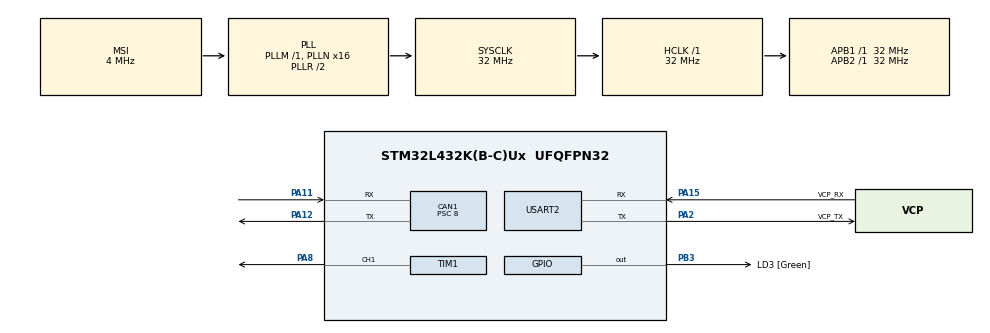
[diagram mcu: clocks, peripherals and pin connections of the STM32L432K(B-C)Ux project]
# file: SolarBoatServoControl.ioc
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CAN1.BS1=CAN_BS1_8TQ
CAN1.BS2=CAN_BS2_7TQ
CAN1.CalculateBaudRate=250000
CAN1.CalculateTimeBit=4000
CAN1.CalculateTimeQuantum=250.0
CAN1.Prescaler=8
Mcu.Family=STM32L4
Mcu.Name=STM32L432K(B-C)Ux
Mcu.Package=UFQFPN32
NVIC.CAN1_RX0_IRQn=true\:0\:0\:false\:false\:true\:true\:true\:true
NVIC.PriorityGroup=NVIC_PRIORITYGROUP_4
PA0.GPIO_Label=MCO [High speed clock in]
PA0.Mode=HSE-External-Clock-Source-for-LittleOrca
PA0.Signal=RCC_CK_IN
PA11.Mode=CAN_Activate
PA11.Signal=CAN1_RX
PA12.Mode=CAN_Activate
PA12.Signal=CAN1_TX
PA13\ (JTMS-SWDIO).GPIO_Label=SWDIO
PA13\ (JTMS-SWDIO).Mode=Serial_Wire
PA13\ (JTMS-SWDIO).Signal=SYS_JTMS-SWDIO
PA14\ (JTCK-SWCLK).GPIO_Label=SWCLK
PA14\ (JTCK-SWCLK).Mode=Serial_Wire
PA14\ (JTCK-SWCLK).Signal=SYS_JTCK-SWCLK
PA15\ (JTDI).GPIO_Label=VCP_RX
PA15\ (JTDI).Mode=Asynchronous
PA15\ (JTDI).Signal=USART2_RX
PA2.GPIO_Label=VCP_TX
PA2.Mode=Asynchronous
PA2.Signal=USART2_TX
PA8.Signal=S_TIM1_CH1
PB3\ (JTDO-TRACESWO).GPIO_Label=LD3 [Green]
PB3\ (JTDO-TRACESWO).Signal=GPIO_Output
PC14-OSC32_IN\ (PC14).Mode=LSE-External-Oscillator
PC14-OSC32_IN\ (PC14).Signal=RCC_OSC32_IN
PC15-OSC32_OUT\ (PC15).Mode=LSE-External-Oscillator
PC15-OSC32_OUT\ (PC15).Signal=RCC_OSC32_OUT
ProjectManager.HeapSize=0x200
ProjectManager.StackSize=0x400
ProjectManager.TargetToolchain=STM32CubeIDE
RCC.AHBFreq_Value=32000000
RCC.APB1Freq_Value=32000000
RCC.APB1TimFreq_Value=32000000
RCC.APB2Freq_Value=32000000
RCC.APB2TimFreq_Value=32000000
RCC.CortexFreq_Value=32000000
RCC.HCLKFreq_Value=32000000
RCC.HSE_VALUE=8000000
RCC.HSI16_VALUE=16000000
RCC.HSI48_VALUE=48000000
RCC.HSI_VALUE=16000000
RCC.MSI_VALUE=4000000
RCC.PLLMUL=RCC_PLLMUL_4
RCC.PLLN=16
RCC.SYSCLKFreq_VALUE=32000000
RCC.SYSCLKSource=RCC_SYSCLKSOURCE_PLLCLK
RCC.VCOOutputFreq_Value=64000000
SH.S_TIM1_CH1.0=TIM1_CH1,PWM Generation1 CH1
TIM1.Channel-PWM\ Generation1\ CH1=TIM_CHANNEL_1
TIM1.Period=40000-1
TIM1.Prescaler=16-1
USART2.VirtualMode-Asynchronous=VM_ASYNC
VP_RNG_VS_RNG.Mode=RNG_Activate
VP_TIM1_VS_ClockSourceINT.Mode=Internal
board=NUCLEO-L432KC

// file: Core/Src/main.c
/* USER CODE BEGIN Header */
/**
 *******************************************************************************
 * @file           : main.c
 * @brief          : Main program body
 *******************************************************************************
 * @attention
 *
 * Copyright (c) 2023 STMicroelectronics.
 * All rights reserved.
 *
 * This software is licensed under terms that can be found in the LICENSE file
 * in the root directory of this software component.
 * If no LICENSE file comes with this software, it is provided AS-IS.
 *
 *******************************************************************************
 */
/* USER CODE END Header */
#include "main.h"
#include "can.h"
#include "rng.h"
#include "tim.h"
#include "usart.h"
#include "gpio.h"

/* USER CODE BEGIN Includes */
#include <string.h>
#include <stdio.h>
/* USER CODE END Includes */

/* USER CODE BEGIN PV */
CAN_TxHeaderTypeDef TxHeader;
uint32_t TxMailbox;
uint8_t TxData[8];
/* USER CODE END PV */

void SystemClock_Config(void);
/* USER CODE BEGIN PFP */
uint32_t get_random_number(void);
uint8_t get_random_4bit(void);
/* USER CODE END PFP */

int main(void)
{

  /* MCU Configuration--------------------------------------------------------*/

  /* Reset of all peripherals, Initializes the Flash interface and the Systick. */
  HAL_Init();

  /* Configure the system clock */
  SystemClock_Config();

  /* Initialize all configured peripherals */
  MX_GPIO_Init();
  MX_USART2_UART_Init();
  MX_CAN1_Init();
  MX_TIM1_Init();
  MX_RNG_Init();
  /* USER CODE BEGIN 2 */

    // CAN-transmissie configureren
    TxHeader.DLC = 8;                     				// Data Length: 1 byte
    TxHeader.IDE = CAN_ID_STD;            				// Standaard CAN-ID
    TxHeader.RTR = CAN_RTR_DATA;          				// Data frame
    TxHeader.StdId = get_random_4bit()<<7 | 0x1;        // Een andere CAN-ID
    TxHeader.TransmitGlobalTime = DISABLE;
    uint32_t i = 0;
  /* USER CODE END 2 */

  /* Infinite loop */
  /* USER CODE BEGIN WHILE */
    while (1)
    {
        // Genereer een willekeurig ASCII karakter
    	sprintf(TxData, "%7d", i);

//    	if((i % 2) == 0)
//    	{
//    		TxHeader.StdId = get_random_4bit()<<7 | ((uint8_t)get_random_number()&0b01111111);
//    	}
//    	else
//    	{
//    		TxHeader.StdId = get_random_4bit()<<7 | 0x1;
//    	}
    	TxHeader.StdId = get_random_4bit()<<7 | 0x1;
			// Verstuur het CAN-bericht
			if (HAL_CAN_AddTxMessage(&hcan1, &TxHeader, TxData, &TxMailbox) != HAL_OK)
			{
				// Fout afhandelen bij CAN transmissie
				Error_Handler();
			}

        // Optioneel: zet de gegevens op UART voor debugging
        char uartBuffer[50];
        sprintf(uartBuffer, "Verzonden CAN Data: %c (0x%X)\r\n", TxData[0], TxData[0]);
        HAL_UART_Transmit(&huart2, (uint8_t *)uartBuffer, strlen(uartBuffer), HAL_MAX_DELAY);
        i++;

        // Wacht 1 seconde voor het verzenden van het volgende bericht
        HAL_GPIO_TogglePin(GPIOB, LD3_Pin);
        HAL_Delay(250);
    }
    /* USER CODE END WHILE */

}

//Create random number
uint32_t get_random_number(void) {
    uint32_t random_number;
    if (HAL_RNG_GenerateRandomNumber(&hrng, &random_number) != HAL_OK) {
        // RNG generation error
        Error_Handler();
    }
    return random_number;
}

//Create random number but only 8 bits
uint8_t get_random_4bit(void) {
    uint32_t random_32bit;
    uint8_t random_8bit;
    uint8_t random_4bit;
    if (HAL_RNG_GenerateRandomNumber(&hrng, &random_32bit) != HAL_OK) {
        // RNG generation error handling
        Error_Handler();
    }

    random_8bit = ((uint8_t)(random_32bit & 0xFF));

    random_4bit = (random_8bit<<4)>>4;

    // Extract a single 8-bit value (lower 8 bits of the 32-bit number)
    return random_4bit;
}

void SystemClock_Config(void)
{
  RCC_OscInitTypeDef RCC_OscInitStruct = {0};
  RCC_ClkInitTypeDef RCC_ClkInitStruct = {0};

  /** Configure the main internal regulator output voltage
  */
  if (HAL_PWREx_ControlVoltageScaling(PWR_REGULATOR_VOLTAGE_SCALE1) != HAL_OK)
  {
    Error_Handler();
  }

  /** Configure LSE Drive Capability
  */
  HAL_PWR_EnableBkUpAccess();
  __HAL_RCC_LSEDRIVE_CONFIG(RCC_LSEDRIVE_LOW);

  /** Initializes the RCC Oscillators according to the specified parameters
  * in the RCC_OscInitTypeDef structure.
  */
  RCC_OscInitStruct.OscillatorType = RCC_OSCILLATORTYPE_LSE|RCC_OSCILLATORTYPE_MSI;
  RCC_OscInitStruct.LSEState = RCC_LSE_ON;
  RCC_OscInitStruct.MSIState = RCC_MSI_ON;
  RCC_OscInitStruct.MSICalibrationValue = 0;
  RCC_OscInitStruct.MSIClockRange = RCC_MSIRANGE_6;
  RCC_OscInitStruct.PLL.PLLState = RCC_PLL_ON;
  RCC_OscInitStruct.PLL.PLLSource = RCC_PLLSOURCE_MSI;
  RCC_OscInitStruct.PLL.PLLM = 1;
  RCC_OscInitStruct.PLL.PLLN = 16;
  RCC_OscInitStruct.PLL.PLLP = RCC_PLLP_DIV7;
  RCC_OscInitStruct.PLL.PLLQ = RCC_PLLQ_DIV2;
  RCC_OscInitStruct.PLL.PLLR = RCC_PLLR_DIV2;
  if (HAL_RCC_OscConfig(&RCC_OscInitStruct) != HAL_OK)
  {
    Error_Handler();
  }

  /** Initializes the CPU, AHB and APB buses clocks
  */
  RCC_ClkInitStruct.ClockType = RCC_CLOCKTYPE_HCLK|RCC_CLOCKTYPE_SYSCLK
                              |RCC_CLOCKTYPE_PCLK1|RCC_CLOCKTYPE_PCLK2;
  RCC_ClkInitStruct.SYSCLKSource = RCC_SYSCLKSOURCE_PLLCLK;
  RCC_ClkInitStruct.AHBCLKDivider = RCC_SYSCLK_DIV1;
  RCC_ClkInitStruct.APB1CLKDivider = RCC_HCLK_DIV1;
  RCC_ClkInitStruct.APB2CLKDivider = RCC_HCLK_DIV1;

  if (HAL_RCC_ClockConfig(&RCC_ClkInitStruct, FLASH_LATENCY_1) != HAL_OK)
  {
    Error_Handler();
  }

  /** Enable MSI Auto calibration
  */
  HAL_RCCEx_EnableMSIPLLMode();
}

void Error_Handler(void)
{
  __disable_irq();
  while (1)
  {
  }
}
